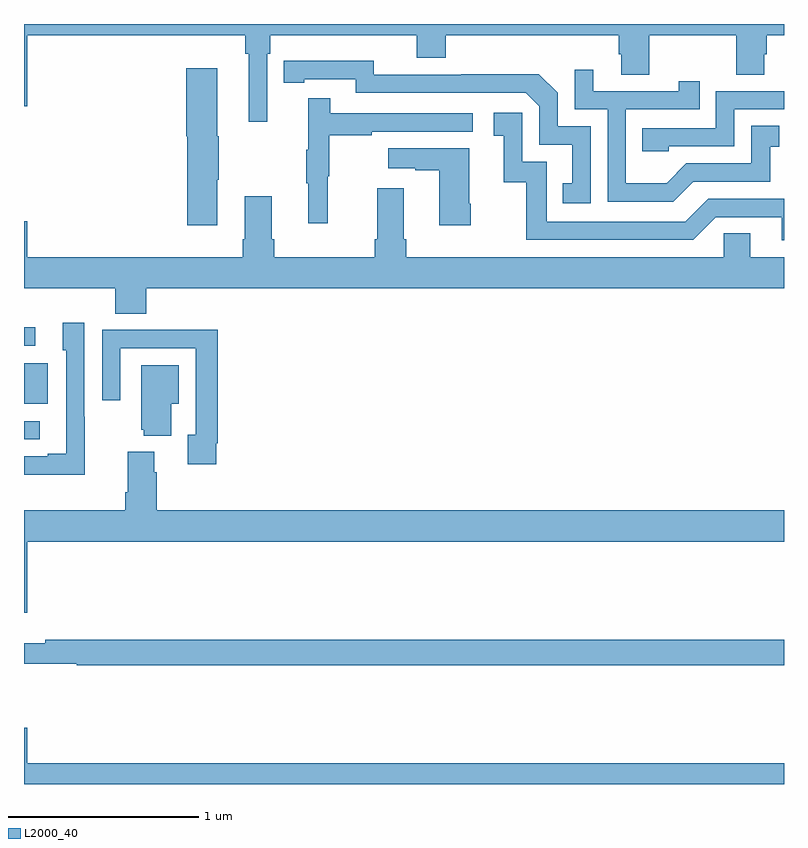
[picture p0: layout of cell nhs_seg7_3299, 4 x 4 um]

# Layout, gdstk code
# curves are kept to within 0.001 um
import gdstk
lib = gdstk.Library(unit=1e-6, precision=1e-09)
def R(c, l, rs):  # rectangles x0, y0, x1, y1
    for r in rs: c.add(gdstk.rectangle(r[:2], r[2:], *l))
def P(c, l, *ps):  # polygons
    for p in ps: c.add(gdstk.Polygon(p, *l))
L2000_40 = (2000, 40)

nhs_seg7_3299 = lib.new_cell('nhs_seg7_3299')
R(nhs_seg7_3299, L2000_40, [(321,1007.814,321.082,1007.91), (321,1008.002,321.124,1008.214), (321,1008.306,321.058,1008.404)])
P(nhs_seg7_3299, L2000_40, [(322.281,1009.844),(322.295,1009.844),(322.295,1009.94),(323.066,1009.94),(323.066,1009.823),(323.219,1009.823),(323.219,1009.94),(324.131,1009.94),(324.131,1009.842),(324.143,1009.842),(324.143,1009.732),(324.291,1009.732),(324.291,1009.94),(324.748,1009.94),(324.748,1009.732),(324.895,1009.732),(324.895,1009.842),(324.908,1009.842),(324.908,1009.94),(325,1009.94),(325,1010),(321,1010),(321,1009.566),(321.016,1009.566),(321.016,1009.94),(322.165,1009.94),(322.165,1009.844),(322.184,1009.844),(322.184,1009.485),(322.281,1009.485)],
  [(323.982,1009.461),(323.808,1009.461),(323.808,1009.638),(323.71,1009.736),(323.302,1009.736),(323.302,1009.734),(322.842,1009.734),(322.842,1009.807),(322.366,1009.806),(322.366,1009.69),(322.474,1009.69),(322.474,1009.71),(322.746,1009.71),(322.746,1009.638),(323.64,1009.638),(323.712,1009.566),(323.712,1009.365),(323.885,1009.365),(323.885,1009.161),(323.836,1009.161),(323.836,1009.056),(323.982,1009.056)],
  [(322.018,1009.18),(322.026,1009.18),(322.026,1009.41),(322.018,1009.41),(322.018,1009.768),(321.854,1009.768),(321.854,1009.41),(321.86,1009.41),(321.86,1008.942),(322.018,1008.942)],
  [(324.523,1009.17),(324.927,1009.17),(324.927,1009.355),(324.976,1009.355),(324.976,1009.465),(324.828,1009.465),(324.828,1009.266),(324.486,1009.266),(324.382,1009.162),(324.168,1009.162),(324.168,1009.551),(324.557,1009.551),(324.557,1009.699),(324.446,1009.699),(324.446,1009.647),(323.995,1009.647),(323.995,1009.759),(323.898,1009.759),(323.898,1009.551),(324.072,1009.551),(324.072,1009.065),(324.418,1009.065)],
  [(324.393,1009.356),(324.738,1009.356),(324.738,1009.551),(325,1009.551),(325,1009.647),(324.642,1009.647),(324.642,1009.452),(324.253,1009.452),(324.253,1009.329),(324.393,1009.329)],
  [(322.598,1009.2),(322.606,1009.2),(322.606,1009.414),(322.829,1009.414),(322.829,1009.434),(323.362,1009.434),(323.362,1009.53),(322.613,1009.53),(322.613,1009.609),(322.496,1009.609),(322.496,1009.337),(322.485,1009.337),(322.485,1009.163),(322.496,1009.163),(322.496,1008.951),(322.598,1008.951)],
  [(325,1009.08),(324.6,1009.08),(324.48,1008.96),(323.751,1008.96),(323.751,1009.275),(323.622,1009.275),(323.622,1009.534),(323.472,1009.534),(323.472,1009.413),(323.525,1009.413),(323.525,1009.167),(323.643,1009.167),(323.643,1008.864),(324.522,1008.864),(324.642,1008.984),(324.989,1008.984),(324.989,1008.861),(325,1008.861)],
  [(323.352,1009.054),(323.344,1009.054),(323.344,1009.345),(322.917,1009.345),(322.917,1009.241),(323.06,1009.241),(323.06,1009.231),(323.186,1009.231),(323.186,1008.942),(323.352,1008.942)],
  [(325,1008.772),(324.823,1008.772),(324.823,1008.899),(324.684,1008.899),(324.684,1008.772),(323.012,1008.772),(323.012,1008.868),(322.999,1008.868),(322.999,1009.135),(322.859,1009.135),(322.859,1008.868),(322.847,1008.868),(322.847,1008.772),(322.316,1008.772),(322.316,1008.868),(322.303,1008.868),(322.303,1009.093),(322.163,1009.093),(322.163,1008.868),(322.151,1008.868),(322.151,1008.772),(321.016,1008.772),(321.016,1008.961),(321,1008.961),(321,1008.608),(321.479,1008.608),(321.479,1008.475),(321.644,1008.475),(321.644,1008.608),(325,1008.608)],
  [(321.321,1007.933),(321.318,1007.933),(321.318,1008.427),(321.203,1008.427),(321.203,1008.282),(321.222,1008.282),(321.222,1007.737),(321.125,1007.737),(321.125,1007.724),(321,1007.724),(321,1007.627),(321.321,1007.627)],
  [(322.012,1007.794),(322.019,1007.794),(322.019,1008.392),(321.727,1008.392),(321.727,1008.39),(321.411,1008.39),(321.411,1008.021),(321.507,1008.021),(321.507,1008.294),(321.903,1008.294),(321.903,1007.838),(321.863,1007.838),(321.863,1007.682),(322.012,1007.682)],
  [(321.775,1008.002),(321.814,1008.002),(321.814,1008.205),(321.617,1008.205),(321.617,1007.865),(321.629,1007.865),(321.629,1007.834),(321.775,1007.834)],
  [(321.545,1007.749),(321.545,1007.536),(321.533,1007.536),(321.533,1007.44),(321,1007.44),(321,1006.902),(321.016,1006.902),(321.016,1007.276),(325,1007.276),(325,1007.44),(321.698,1007.44),(321.698,1007.642),(321.685,1007.642),(321.685,1007.749)],
  [(325,1006.76),(321.112,1006.76),(321.112,1006.741),(321,1006.741),(321,1006.632),(321.278,1006.632),(321.278,1006.624),(325,1006.624)],
  [(325,1006.108),(321.016,1006.108),(321.016,1006.297),(321,1006.297),(321,1006),(325,1006)])

lib.write_gds('nhs_seg7_3299.gds')
